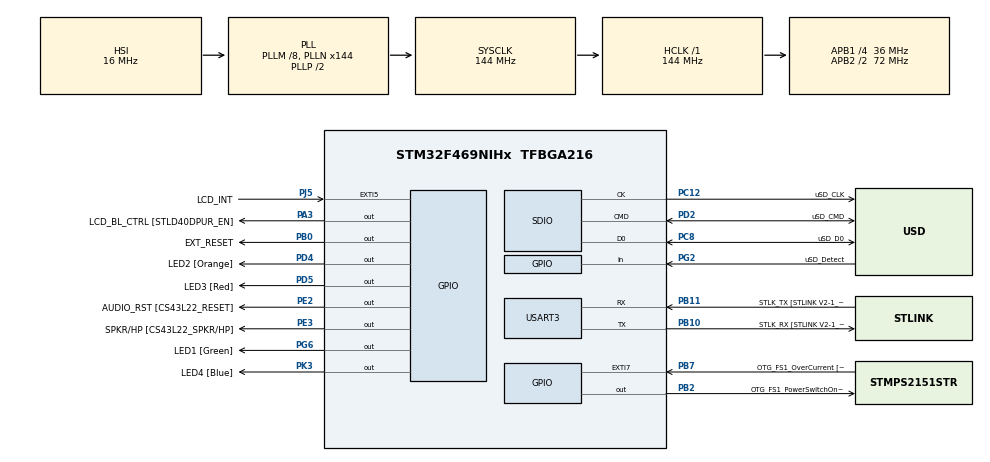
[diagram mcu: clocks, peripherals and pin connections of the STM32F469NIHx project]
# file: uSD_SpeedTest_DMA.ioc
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DSIHOST_CKN.GPIO_Label=DSI_CK_N
DSIHOST_CKN.Signal=DSIHOST_CKN
DSIHOST_CKP.GPIO_Label=DSI_CK_P
DSIHOST_CKP.Signal=DSIHOST_CKP
DSIHOST_D0N.GPIO_Label=DSI_D0_N
DSIHOST_D0N.Signal=DSIHOST_D0N
DSIHOST_D0P.GPIO_Label=DSI_D0_P
DSIHOST_D0P.Signal=DSIHOST_D0P
DSIHOST_D1N.GPIO_Label=DSI_D1_N
DSIHOST_D1N.Signal=DSIHOST_D1N
DSIHOST_D1P.GPIO_Label=DSI_D1_P
DSIHOST_D1P.Signal=DSIHOST_D1P
Dma.Request0=SDIO_RX
Dma.Request1=SDIO_TX
Dma.SDIO_RX.0.Direction=DMA_PERIPH_TO_MEMORY
Dma.SDIO_RX.0.FIFOMode=DMA_FIFOMODE_ENABLE
Dma.SDIO_RX.0.FIFOThreshold=DMA_FIFO_THRESHOLD_FULL
Dma.SDIO_RX.0.Instance=DMA2_Stream3
Dma.SDIO_RX.0.MemBurst=DMA_MBURST_INC4
Dma.SDIO_RX.0.MemDataAlignment=DMA_MDATAALIGN_WORD
Dma.SDIO_RX.0.MemInc=DMA_MINC_ENABLE
Dma.SDIO_RX.0.Mode=DMA_PFCTRL
Dma.SDIO_RX.0.PeriphBurst=DMA_PBURST_INC4
Dma.SDIO_RX.0.PeriphDataAlignment=DMA_PDATAALIGN_WORD
Dma.SDIO_RX.0.PeriphInc=DMA_PINC_DISABLE
Dma.SDIO_RX.0.Priority=DMA_PRIORITY_LOW
Dma.SDIO_TX.1.Direction=DMA_MEMORY_TO_PERIPH
Dma.SDIO_TX.1.FIFOMode=DMA_FIFOMODE_ENABLE
Dma.SDIO_TX.1.FIFOThreshold=DMA_FIFO_THRESHOLD_FULL
Dma.SDIO_TX.1.Instance=DMA2_Stream6
Dma.SDIO_TX.1.MemBurst=DMA_MBURST_INC4
Dma.SDIO_TX.1.MemDataAlignment=DMA_MDATAALIGN_WORD
Dma.SDIO_TX.1.MemInc=DMA_MINC_ENABLE
Dma.SDIO_TX.1.Mode=DMA_PFCTRL
Dma.SDIO_TX.1.PeriphBurst=DMA_PBURST_INC4
Dma.SDIO_TX.1.PeriphDataAlignment=DMA_PDATAALIGN_WORD
Dma.SDIO_TX.1.PeriphInc=DMA_PINC_DISABLE
Dma.SDIO_TX.1.Priority=DMA_PRIORITY_LOW
FATFS.BSP.number=1
FATFS.USE_DMA_CODE_SD=1
FATFS._MAX_SS=4096
FATFS._USE_FIND=1
FATFS0.BSP.STBoard=false
FATFS0.BSP.api=Unknown
FATFS0.BSP.instance=PG2
FATFS0.BSP.ip=GPIO
FATFS0.BSP.mode=Input
FATFS0.BSP.name=Detect_SDIO
FATFS0.BSP.solution=PG2
Mcu.Family=STM32F4
Mcu.Name=STM32F469NIHx
Mcu.Package=TFBGA216
NVIC.DMA2_Stream3_IRQn=true\:0\:0\:false\:false\:true\:false\:true\:true
NVIC.DMA2_Stream6_IRQn=true\:0\:0\:false\:false\:true\:false\:true\:true
NVIC.PriorityGroup=NVIC_PRIORITYGROUP_4
NVIC.SDIO_IRQn=true\:0\:0\:false\:false\:true\:true\:true\:true
PA0/WKUP.GPIO_Label=WAKEUP [B2]
PA0/WKUP.Signal=SYS_WKUP
PA10.GPIO_Label=USB_FS1_ID
PA10.GPIO_Mode=GPIO_MODE_AF_PP
PA10.GPIO_PuPd=GPIO_NOPULL
PA10.GPIO_Speed=GPIO_SPEED_FREQ_VERY_HIGH
PA10.Signal=USB_OTG_FS_ID
PA11.GPIO_Label=USB_FS1_N
PA11.GPIO_Mode=GPIO_MODE_AF_PP
PA11.GPIO_PuPd=GPIO_NOPULL
PA11.GPIO_Speed=GPIO_SPEED_FREQ_VERY_HIGH
PA11.Signal=USB_OTG_FS_DM
PA12.GPIO_Label=USB_FS1_P
PA12.GPIO_Mode=GPIO_MODE_AF_PP
PA12.GPIO_PuPd=GPIO_NOPULL
PA12.GPIO_Speed=GPIO_SPEED_FREQ_VERY_HIGH
PA12.Signal=USB_OTG_FS_DP
PA13.GPIO_Label=SWDIO
PA13.Signal=SYS_JTMS-SWDIO
PA14.GPIO_Label=SWCLK
PA14.Signal=SYS_JTCK-SWCLK
PA3.GPIO_Label=LCD_BL_CTRL [STLD40DPUR_EN]
PA3.Signal=GPIO_Output
PA9.GPIO_Label=VBUS_FS1
PA9.GPIO_Mode=GPIO_MODE_AF_PP
PA9.GPIO_PuPd=GPIO_NOPULL
PA9.GPIO_Speed=GPIO_SPEED_FREQ_VERY_HIGH
PA9.Signal=USB_OTG_FS_VBUS
PB0.GPIO_Label=EXT_RESET
PB0.Signal=GPIO_Output
PB10.GPIO_Label=STLK_RX [STLINK V2-1_U2_RX]
PB10.Mode=Asynchronous
PB10.Signal=USART3_TX
PB11.GPIO_Label=STLK_TX [STLINK V2-1_U2_TX]
PB11.Mode=Asynchronous
PB11.Signal=USART3_RX
PB2/BOOT1.GPIO_Label=OTG_FS1_PowerSwitchOn [STMPS2151STR_En]
PB2/BOOT1.Signal=GPIO_Output
PB3.GPIO_Label=I2S3_CK
PB3.GPIO_Mode=GPIO_MODE_AF_PP
PB3.GPIO_PuPd=GPIO_NOPULL
PB3.GPIO_Speed=GPIO_SPEED_FREQ_LOW
PB3.Signal=I2S3_CK
PB6.GPIO_Label=QSPI_BK1_NCS [N25Q128A13EF840F_S]
PB6.GPIO_Mode=GPIO_MODE_AF_PP
PB6.GPIO_PuPd=GPIO_NOPULL
PB6.GPIO_Speed=GPIO_SPEED_FREQ_VERY_HIGH
PB6.Signal=QUADSPI_BK1_NCS
PB7.GPIO_Label=OTG_FS1_OverCurrent [STMPS2151STR_FAULT]
PB7.GPIO_ModeDefaultEXTI=GPIO_MODE_IT_RISING
PB7.GPIO_PuPd=GPIO_NOPULL
PB7.Signal=GPXTI7
PB8.GPIO_Label=I2C1_SCL
PB8.GPIO_Mode=GPIO_MODE_AF_OD
PB8.GPIO_PuPdOD=GPIO_PULLUP
PB8.GPIO_Speed=GPIO_SPEED_FREQ_VERY_HIGH
PB8.Signal=I2C1_SCL
PB9.GPIO_Label=I2C1_SDA
PB9.GPIO_Mode=GPIO_MODE_AF_OD
PB9.GPIO_PuPdOD=GPIO_PULLUP
PB9.GPIO_Speed=GPIO_SPEED_FREQ_VERY_HIGH
PB9.Signal=I2C1_SDA
PC0.GPIO_Label=SDNWE [MT48LC4M32B2B5-6A_WE]
PC0.Signal=FMC_SDNWE
PC10.GPIO_Label=uSD_D2
PC10.GPIO_Mode=GPIO_MODE_AF_PP
PC10.GPIO_PuPd=GPIO_NOPULL
PC10.GPIO_Speed_High_Default=GPIO_SPEED_FREQ_VERY_HIGH
PC10.Signal=SDIO_D2
PC11.GPIO_Label=uSD_D3
PC11.GPIO_Mode=GPIO_MODE_AF_PP
PC11.GPIO_PuPd=GPIO_NOPULL
PC11.GPIO_Speed_High_Default=GPIO_SPEED_FREQ_VERY_HIGH
PC11.Signal=SDIO_D3
PC12.GPIO_Label=uSD_CLK
PC12.GPIO_Mode=GPIO_MODE_AF_PP
PC12.GPIO_PuPd=GPIO_NOPULL
PC12.GPIO_Speed_High_Default=GPIO_SPEED_FREQ_VERY_HIGH
PC12.Mode=SD_1_bit
PC12.Signal=SDIO_CK
PC14/OSC32_IN.Signal=RCC_OSC32_IN
PC15/OSC32_OUT.Signal=RCC_OSC32_OUT
PC8.GPIO_Label=uSD_D0
PC8.GPIO_Mode=GPIO_MODE_AF_PP
PC8.GPIO_PuPd=GPIO_NOPULL
PC8.GPIO_Speed_High_Default=GPIO_SPEED_FREQ_VERY_HIGH
PC8.Mode=SD_1_bit
PC8.Signal=SDIO_D0
PC9.GPIO_Label=uSD_D1
PC9.GPIO_Mode=GPIO_MODE_AF_PP
PC9.GPIO_PuPd=GPIO_NOPULL
PC9.GPIO_Speed_High_Default=GPIO_SPEED_FREQ_VERY_HIGH
PC9.Signal=SDIO_D1
PD0.GPIO_Label=D2
PD0.GPIO_Mode=GPIO_MODE_AF_PP
PD0.GPIO_PuPd=GPIO_NOPULL
PD0.GPIO_Speed_High_Default=GPIO_SPEED_FREQ_VERY_HIGH
PD0.Signal=FMC_D2_DA2
PD1.GPIO_Label=D3
PD1.GPIO_Mode=GPIO_MODE_AF_PP
PD1.GPIO_PuPd=GPIO_NOPULL
PD1.GPIO_Speed_High_Default=GPIO_SPEED_FREQ_VERY_HIGH
PD1.Signal=FMC_D3_DA3
PD10.GPIO_Label=D15
PD10.Signal=FMC_D15_DA15
PD13.GPIO_Label=MIC_CK [MP34DT01TR_CLK]
PD13.Signal=S_TIM4_CH2
PD14.GPIO_Label=D0
PD14.Signal=FMC_D0_DA0
PD15.GPIO_Label=D1
PD15.Signal=FMC_D1_DA1
PD2.GPIO_Label=uSD_CMD
PD2.GPIO_Mode=GPIO_MODE_AF_PP
PD2.GPIO_PuPd=GPIO_NOPULL
PD2.GPIO_Speed_High_Default=GPIO_SPEED_FREQ_VERY_HIGH
PD2.Mode=SD_1_bit
PD2.Signal=SDIO_CMD
PD4.GPIO_Label=LED2 [Orange]
PD4.GPIO_ModeDefaultOutputPP=GPIO_MODE_OUTPUT_OD
PD4.GPIO_PuPd=GPIO_NOPULL
PD4.GPIO_Speed=GPIO_SPEED_FREQ_LOW
PD4.Signal=GPIO_Output
PD5.GPIO_Label=LED3 [Red]
PD5.GPIO_ModeDefaultOutputPP=GPIO_MODE_OUTPUT_OD
PD5.GPIO_PuPd=GPIO_NOPULL
PD5.GPIO_Speed=GPIO_SPEED_FREQ_LOW
PD5.Signal=GPIO_Output
PD6.GPIO_Label=MIC_DATA [MP34DT01TR_DOUT]
PD6.GPIO_Mode=GPIO_MODE_AF_PP
PD6.GPIO_PuPd=GPIO_NOPULL
PD6.GPIO_Speed=GPIO_SPEED_FREQ_LOW
PD6.Signal=SAI1_SD_A
PD8.GPIO_Label=D13
PD8.Signal=FMC_D13_DA13
PD9.GPIO_Label=D14
PD9.Signal=FMC_D14_DA14
PE0.GPIO_Label=FMC_NBL0 [ MT48LC4M32B2B5-6A_DQM0]
PE0.GPIO_Mode=GPIO_MODE_AF_PP
PE0.GPIO_PuPd=GPIO_NOPULL
PE0.GPIO_Speed_High_Default=GPIO_SPEED_FREQ_VERY_HIGH
PE0.Signal=FMC_NBL0
PE1.GPIO_Label=FMC_NBL1 [ MT48LC4M32B2B5-6A_DQM1]
PE1.GPIO_Mode=GPIO_MODE_AF_PP
PE1.GPIO_PuPd=GPIO_NOPULL
PE1.GPIO_Speed_High_Default=GPIO_SPEED_FREQ_VERY_HIGH
PE1.Signal=FMC_NBL1
PE10.GPIO_Label=D7
PE10.Signal=FMC_D7_DA7
PE11.GPIO_Label=D8
PE11.Signal=FMC_D8_DA8
PE12.GPIO_Label=D9
PE12.Signal=FMC_D9_DA9
PE13.GPIO_Label=D10
PE13.Signal=FMC_D10_DA10
PE14.GPIO_Label=D11
PE14.Signal=FMC_D11_DA11
PE15.GPIO_Label=D12
PE15.Signal=FMC_D12_DA12
PE2.GPIO_Label=AUDIO_RST [CS43L22_RESET]
PE2.GPIO_ModeDefaultOutputPP=GPIO_MODE_OUTPUT_PP
PE2.GPIO_PuPd=GPIO_NOPULL
PE2.GPIO_Speed=GPIO_SPEED_FREQ_LOW
PE2.Signal=GPIO_Output
PE3.GPIO_Label=SPKR/HP [CS43L22_SPKR/HP]
PE3.GPIO_ModeDefaultOutputPP=GPIO_MODE_OUTPUT_PP
PE3.GPIO_PuPd=GPIO_NOPULL
PE3.GPIO_Speed=GPIO_SPEED_FREQ_LOW
PE3.Signal=GPIO_Output
PE4.GPIO_Label=SAI1_FSA [CS43L22_LRCK]
PE4.GPIO_Mode=GPIO_MODE_AF_PP
PE4.GPIO_PuPd=GPIO_NOPULL
PE4.GPIO_Speed=GPIO_SPEED_FREQ_LOW
PE4.Signal=SAI1_FS_A
PE5.GPIO_Label=SAI1_SCKA [CS43L22_CLK]
PE5.GPIO_Mode=GPIO_MODE_AF_PP
PE5.GPIO_PuPd=GPIO_NOPULL
PE5.GPIO_Speed=GPIO_SPEED_FREQ_LOW
PE5.Signal=SAI1_SCK_A
PE7.GPIO_Label=D4
PE7.Signal=FMC_D4_DA4
PE8.GPIO_Label=D5
PE8.Signal=FMC_D5_DA5
PE9.GPIO_Label=D6
PE9.Signal=FMC_D6_DA6
PF0.GPIO_Label=A0
PF0.GPIO_Mode=GPIO_MODE_AF_PP
PF0.GPIO_PuPd=GPIO_NOPULL
PF0.GPIO_Speed_High_Default=GPIO_SPEED_FREQ_VERY_HIGH
PF0.Signal=FMC_A0
PF1.GPIO_Label=A1
PF1.GPIO_Mode=GPIO_MODE_AF_PP
PF1.GPIO_PuPd=GPIO_NOPULL
PF1.GPIO_Speed_High_Default=GPIO_SPEED_FREQ_VERY_HIGH
PF1.Signal=FMC_A1
PF10.GPIO_Label=QSPI_CLK [N25Q128A13EF840F_C]
PF10.Signal=QUADSPI_CLK
PF11.GPIO_Label=SDNMT48LC4M32B2B5-6A_RAS]RAS [
PF11.Signal=FMC_SDNRAS
PF12.GPIO_Label=A6
PF12.Signal=FMC_A6
PF13.GPIO_Label=A7
PF13.Signal=FMC_A7
PF14.GPIO_Label=A8
PF14.Signal=FMC_A8
PF15.GPIO_Label=A9
PF15.Signal=FMC_A9
PF2.GPIO_Label=A2
PF2.GPIO_Mode=GPIO_MODE_AF_PP
PF2.GPIO_PuPd=GPIO_NOPULL
PF2.GPIO_Speed_High_Default=GPIO_SPEED_FREQ_VERY_HIGH
PF2.Signal=FMC_A2
PF3.GPIO_Label=A3
PF3.GPIO_Mode=GPIO_MODE_AF_PP
PF3.GPIO_PuPd=GPIO_NOPULL
PF3.GPIO_Speed_High_Default=GPIO_SPEED_FREQ_VERY_HIGH
PF3.Signal=FMC_A3
PF4.GPIO_Label=A4
PF4.GPIO_Mode=GPIO_MODE_AF_PP
PF4.GPIO_PuPd=GPIO_NOPULL
PF4.GPIO_Speed_High_Default=GPIO_SPEED_FREQ_VERY_HIGH
PF4.Signal=FMC_A4
PF5.GPIO_Label=A5
PF5.Signal=FMC_A5
PF6.GPIO_Label=QSPI_BK1_IO3 [N25Q128A13EF840F_DQ3]
PF6.Signal=QUADSPI_BK1_IO3
PF7.GPIO_Label=QSPI_BK1_IO2 [N25Q128A13EF840F_DQ2]
PF7.Signal=QUADSPI_BK1_IO2
PF8.GPIO_Label=QSPI_BK1_IO0 [N25Q128A13EF840F_DQ0]
PF8.Signal=QUADSPI_BK1_IO0
PF9.GPIO_Label=QSPI_BK1_IO1 [N25Q128A13EF840F_DQ1]
PF9.Signal=QUADSPI_BK1_IO1
PG0.GPIO_Label=A10
PG0.Signal=FMC_A10
PG1.GPIO_Label=A11
PG1.Signal=FMC_A11
PG14.GPIO_Label=ARDUINO USART6_TX
PG14.GPIO_Mode=GPIO_MODE_AF_PP
PG14.GPIO_PuPd=GPIO_NOPULL
PG14.GPIO_Speed=GPIO_SPEED_FREQ_VERY_HIGH
PG14.Signal=USART6_TX
PG15.GPIO_Label=SDNCAS [MT48LC4M32B2B5-6A_CAS]
PG15.GPIO_Mode=GPIO_MODE_AF_PP
PG15.GPIO_PuPd=GPIO_NOPULL
PG15.GPIO_Speed_High_Default=GPIO_SPEED_FREQ_VERY_HIGH
PG15.Signal=FMC_SDNCAS
PG2.GPIO_Label=uSD_Detect
PG2.GPIO_PuPd=GPIO_PULLUP
PG2.Signal=GPIO_Input
PG4.Signal=FMC_A14_BA0
PG5.Signal=FMC_A15_BA1
PG6.GPIO_Label=LED1 [Green]
PG6.GPIO_ModeDefaultOutputPP=GPIO_MODE_OUTPUT_OD
PG6.GPIO_PuPd=GPIO_NOPULL
PG6.GPIO_Speed=GPIO_SPEED_FREQ_LOW
PG6.Signal=GPIO_Output
PG7.GPIO_Label=SAI1_MCLKA [CS43L22_MCLK]
PG7.GPIO_Mode=GPIO_MODE_AF_PP
PG7.GPIO_PuPd=GPIO_NOPULL
PG7.GPIO_Speed=GPIO_SPEED_FREQ_LOW
PG7.Signal=SAI1_MCLK_A
PG8.GPIO_Label=SDCLK [MT48LC4M32B2B5-6A_CLK]
PG8.GPIO_Mode=GPIO_MODE_AF_PP
PG8.GPIO_PuPd=GPIO_NOPULL
PG8.GPIO_Speed_High_Default=GPIO_SPEED_FREQ_VERY_HIGH
PG8.Signal=FMC_SDCLK
PG9.GPIO_Label=USART6_RX
PG9.GPIO_Mode=GPIO_MODE_AF_PP
PG9.GPIO_PuPd=GPIO_NOPULL
PG9.GPIO_Speed=GPIO_SPEED_FREQ_VERY_HIGH
PG9.Signal=USART6_RX
PH0/OSC_IN.Mode=HSE-External-Oscillator
PH0/OSC_IN.Signal=RCC_OSC_IN
PH1/OSC_OUT.Mode=HSE-External-Oscillator
PH1/OSC_OUT.Signal=RCC_OSC_OUT
PH10.GPIO_Label=D18
PH10.Signal=FMC_D18
PH11.GPIO_Label=D19
PH11.Signal=FMC_D19
PH12.GPIO_Label=D20
PH12.Signal=FMC_D20
PH13.GPIO_Label=D21
PH13.GPIO_Mode=GPIO_MODE_AF_PP
PH13.GPIO_PuPd=GPIO_NOPULL
PH13.GPIO_Speed_High_Default=GPIO_SPEED_FREQ_VERY_HIGH
PH13.Signal=FMC_D21
PH14.GPIO_Label=D22
PH14.GPIO_Mode=GPIO_MODE_AF_PP
PH14.GPIO_PuPd=GPIO_NOPULL
PH14.GPIO_Speed_High_Default=GPIO_SPEED_FREQ_VERY_HIGH
PH14.Signal=FMC_D22
PH15.GPIO_Label=D23
PH15.GPIO_Mode=GPIO_MODE_AF_PP
PH15.GPIO_PuPd=GPIO_NOPULL
PH15.GPIO_Speed_High_Default=GPIO_SPEED_FREQ_VERY_HIGH
PH15.Signal=FMC_D23
PH2.GPIO_Label=SDCKE0 [MT48LC4M32B2B5-6A_CKE]
PH2.Signal=FMC_SDCKE0
PH3.GPIO_Label=SDNE0 [MT48LC4M32B2B5-6A_CS]
PH3.GPIO_Mode=GPIO_MODE_AF_PP
PH3.GPIO_PuPd=GPIO_NOPULL
PH3.GPIO_Speed_High_Default=GPIO_SPEED_FREQ_VERY_HIGH
PH3.Signal=FMC_SDNE0
PH4.GPIO_Label=I2C2_SCL [CS43L22_SCL]
PH4.GPIO_Mode=GPIO_MODE_AF_OD
PH4.GPIO_PuPdOD=GPIO_PULLUP
PH4.GPIO_Speed=GPIO_SPEED_FREQ_VERY_HIGH
PH4.Signal=I2C2_SCL
PH5.GPIO_Label=I2C2_SDA [CS43L22_SDA]
PH5.GPIO_Mode=GPIO_MODE_AF_OD
PH5.GPIO_PuPdOD=GPIO_PULLUP
PH5.GPIO_Speed=GPIO_SPEED_FREQ_VERY_HIGH
PH5.Signal=I2C2_SDA
PH8.GPIO_Label=D16
PH8.Signal=FMC_D16
PH9.GPIO_Label=D17
PH9.Signal=FMC_D17
PI0.GPIO_Label=D24
PI0.GPIO_Mode=GPIO_MODE_AF_PP
PI0.GPIO_PuPd=GPIO_NOPULL
PI0.GPIO_Speed_High_Default=GPIO_SPEED_FREQ_VERY_HIGH
PI0.Signal=FMC_D24
PI1.GPIO_Label=D25
PI1.GPIO_Mode=GPIO_MODE_AF_PP
PI1.GPIO_PuPd=GPIO_NOPULL
PI1.GPIO_Speed_High_Default=GPIO_SPEED_FREQ_VERY_HIGH
PI1.Signal=FMC_D25
PI10.GPIO_Label=D31
PI10.GPIO_Mode=GPIO_MODE_AF_PP
PI10.GPIO_PuPd=GPIO_NOPULL
PI10.GPIO_Speed_High_Default=GPIO_SPEED_FREQ_VERY_HIGH
PI10.Signal=FMC_D31
PI2.GPIO_Label=D26
PI2.GPIO_Mode=GPIO_MODE_AF_PP
PI2.GPIO_PuPd=GPIO_NOPULL
PI2.GPIO_Speed_High_Default=GPIO_SPEED_FREQ_VERY_HIGH
PI2.Signal=FMC_D26
PI3.GPIO_Label=D27
PI3.GPIO_Mode=GPIO_MODE_AF_PP
PI3.GPIO_PuPd=GPIO_NOPULL
PI3.GPIO_Speed_High_Default=GPIO_SPEED_FREQ_VERY_HIGH
PI3.Signal=FMC_D27
PI4.GPIO_Label=FMC_NBL2 [MT48LC4M32B2B5-6A_DQM2]
PI4.GPIO_Mode=GPIO_MODE_AF_PP
PI4.GPIO_PuPd=GPIO_NOPULL
PI4.GPIO_Speed_High_Default=GPIO_SPEED_FREQ_VERY_HIGH
PI4.Signal=FMC_NBL2
PI5.GPIO_Label=FMC_NBL3 [MT48LC4M32B2B5-6A_DQM3]
PI5.GPIO_Mode=GPIO_MODE_AF_PP
PI5.GPIO_PuPd=GPIO_NOPULL
PI5.GPIO_Speed_High_Default=GPIO_SPEED_FREQ_VERY_HIGH
PI5.Signal=FMC_NBL3
PI6.GPIO_Label=D28
PI6.GPIO_Mode=GPIO_MODE_AF_PP
PI6.GPIO_PuPd=GPIO_NOPULL
PI6.GPIO_Speed_High_Default=GPIO_SPEED_FREQ_VERY_HIGH
PI6.Signal=FMC_D28
PI7.GPIO_Label=D29
PI7.GPIO_Mode=GPIO_MODE_AF_PP
PI7.GPIO_PuPd=GPIO_NOPULL
PI7.GPIO_Speed_High_Default=GPIO_SPEED_FREQ_VERY_HIGH
PI7.Signal=FMC_D29
PI9.GPIO_Label=D30
PI9.GPIO_Mode=GPIO_MODE_AF_PP
PI9.GPIO_PuPd=GPIO_NOPULL
PI9.GPIO_Speed_High_Default=GPIO_SPEED_FREQ_VERY_HIGH
PI9.Signal=FMC_D30
PJ2.GPIO_Label=DSI_TE
PJ2.Signal=DSIHOST_TE
PJ5.GPIO_Label=LCD_INT
PJ5.Signal=GPXTI5
PK3.GPIO_Label=LED4 [Blue]
PK3.GPIO_ModeDefaultOutputPP=GPIO_MODE_OUTPUT_OD
PK3.GPIO_PuPd=GPIO_NOPULL
PK3.GPIO_Speed=GPIO_SPEED_FREQ_LOW
PK3.Signal=GPIO_Output
ProjectManager.HeapSize=0x200
ProjectManager.StackSize=0x400
ProjectManager.TargetToolchain=STM32CubeIDE
RCC.AHBFreq_Value=144000000
RCC.APB1CLKDivider=RCC_HCLK_DIV4
RCC.APB1Freq_Value=36000000
RCC.APB1TimFreq_Value=72000000
RCC.APB2CLKDivider=RCC_HCLK_DIV2
RCC.APB2Freq_Value=72000000
RCC.APB2TimFreq_Value=144000000
RCC.CortexFreq_Value=144000000
RCC.HCLKFreq_Value=144000000
RCC.LockedElements=SDIOoutput
RCC.PLLM=8
RCC.PLLN=144
RCC.PLLQ=6
RCC.SYSCLKFreq_VALUE=144000000
RCC.SYSCLKSource=RCC_SYSCLKSOURCE_PLLCLK
RCC.USBFreq_Value=48000000
RCC.VCOOutputFreq_Value=288000000
SDIO.ClockBypass=SDIO_CLOCK_BYPASS_ENABLE
SDIO.HardwareFlowControl=SDIO_HARDWARE_FLOW_CONTROL_DISABLE
SH.FMC_A0.0=FMC_A0
SH.FMC_A1.0=FMC_A1
SH.FMC_A10.0=FMC_A10
SH.FMC_A11.0=FMC_A11
SH.FMC_A14_BA0.0=FMC_BA0
SH.FMC_A15_BA1.0=FMC_BA1
SH.FMC_A2.0=FMC_A2
SH.FMC_A3.0=FMC_A3
SH.FMC_A4.0=FMC_A4
SH.FMC_A5.0=FMC_A5
SH.FMC_A6.0=FMC_A6
SH.FMC_A7.0=FMC_A7
SH.FMC_A8.0=FMC_A8
SH.FMC_A9.0=FMC_A9
SH.FMC_D0_DA0.0=FMC_D0
SH.FMC_D10_DA10.0=FMC_D10
SH.FMC_D11_DA11.0=FMC_D11
SH.FMC_D12_DA12.0=FMC_D12
SH.FMC_D13_DA13.0=FMC_D13
SH.FMC_D14_DA14.0=FMC_D14
SH.FMC_D15_DA15.0=FMC_D15
SH.FMC_D16.0=FMC_D16
SH.FMC_D17.0=FMC_D17
SH.FMC_D18.0=FMC_D18
SH.FMC_D19.0=FMC_D19
SH.FMC_D1_DA1.0=FMC_D1
SH.FMC_D20.0=FMC_D20
SH.FMC_D21.0=FMC_D21
SH.FMC_D22.0=FMC_D22
SH.FMC_D23.0=FMC_D23
SH.FMC_D24.0=FMC_D24
SH.FMC_D25.0=FMC_D25
SH.FMC_D26.0=FMC_D26
SH.FMC_D27.0=FMC_D27
SH.FMC_D28.0=FMC_D28
SH.FMC_D29.0=FMC_D29
SH.FMC_D2_DA2.0=FMC_D2
SH.FMC_D30.0=FMC_D30
SH.FMC_D31.0=FMC_D31
SH.FMC_D3_DA3.0=FMC_D3
SH.FMC_D4_DA4.0=FMC_D4
SH.FMC_D5_DA5.0=FMC_D5
SH.FMC_D6_DA6.0=FMC_D6
SH.FMC_D7_DA7.0=FMC_D7
SH.FMC_D8_DA8.0=FMC_D8
SH.FMC_D9_DA9.0=FMC_D9
SH.FMC_NBL0.0=FMC_NBL0
SH.FMC_NBL1.0=FMC_NBL1
SH.FMC_NBL2.0=FMC_NBL2
SH.FMC_NBL3.0=FMC_NBL3
SH.FMC_SDCLK.0=FMC_SDCLK
SH.FMC_SDNCAS.0=FMC_SDNCAS
SH.FMC_SDNRAS.0=FMC_SDNRAS
SH.FMC_SDNWE.0=FMC_SDNWE
SH.S_TIM4_CH2.0=TIM4_CH2
USART3.VirtualMode=VM_ASYNC
VP_CRC_VS_CRC.Mode=CRC_Activate
VP_FATFS_VS_SDIO.Mode=SDIO
board=STM32F469I-DISCO

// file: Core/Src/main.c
/* USER CODE BEGIN Header */
/**
  ******************************************************************************
  * @file           : main.c
  * @brief          : Main program body
  ******************************************************************************
  * @attention
  *
  * Copyright (c) 2023 STMicroelectronics.
  * All rights errerved.
  *
  * This software is licensed under terms that can be found in the LICENSE file
  * in the root directory of this software component.
  * If no LICENSE file comes with this software, it is provided AS-IS.
  *
  ******************************************************************************
  */
/* USER CODE END Header */
#include "main.h"
#include "fatfs.h"

/* USER CODE BEGIN Includes */
#include "string.h"
#include "SD.h"
/* USER CODE END Includes */

CRC_HandleTypeDef hcrc;

SD_HandleTypeDef hsd;
DMA_HandleTypeDef hdma_sdio_rx;
DMA_HandleTypeDef hdma_sdio_tx;

UART_HandleTypeDef huart3;

/* USER CODE BEGIN PV */

uint32_t idPart1;
uint32_t idPart2;
uint32_t idPart3;

/*
 * Variables for the SD card
 */
volatile int writeCounter = 0;
char SDFileName[13] = "testfile.enc";
UINT byteswritten, bytesread; /* File write/read counts */
FRESULT fr = FR_NOT_READY;
FATFS SDFatFs; /* File system object for SD card logical drive */
FIL MyFile; /* File object */
//char SDPath[4]; /* SD card logical drive path */
//static uint8_t buffer[_MAX_SS]; /* a work buffer for the f_mkfs() */
uint16_t fileCounter = 0;
/* USER CODE END PV */

void SystemClock_Config(void);
static void MX_GPIO_Init(void);
static void MX_DMA_Init(void);
static void MX_CRC_Init(void);
static void MX_SDIO_SD_Init(void);
static void MX_USART3_UART_Init(void);
/* USER CODE BEGIN PFP */
void f_opendir_scan(void);
/* USER CODE END PFP */

/* USER CODE BEGIN 0 */
#define N_FILES 100 // The amount of files that will be written to the SD card
#define DATA_SIZE  (32768) // 4096*8
#define DATA_SIZE_BIT  (DATA_SIZE * 32)
int data[DATA_SIZE];
/* USER CODE END 0 */

int main(void)
{

  /* MCU Configuration--------------------------------------------------------*/

  /* Reset of all peripherals, Initializes the Flash interface and the Systick. */
  HAL_Init();

  /* Configure the system clock */
  SystemClock_Config();

  /* Initialize all configured peripherals */
  MX_GPIO_Init();
  MX_DMA_Init();
  MX_CRC_Init();
  MX_SDIO_SD_Init();
  MX_FATFS_Init();
  MX_USART3_UART_Init();
  /* USER CODE BEGIN 2 */

  HAL_Delay(500);
  uint32_t start_time, duration;
  float data_rate[N_FILES];

    for(int i=0; i<DATA_SIZE; i++)
  	{
  	  data[i] = i;
  	}

  /* USER CODE END 2 */

  /* Infinite loop */
  /* USER CODE BEGIN WHILE */
    mountSDCard(&fr, &SDFatFS);
    for (int i=0; i<N_FILES; i++)
    {
    /* USER CODE END WHILE */

    /* USER CODE BEGIN 3 */

  	if(fr == FR_OK)
  	{
		setFileName(&fileCounter, SDFileName);
		openWriteModeSDCardFile(&fr, SDFileName);
		if(fr == FR_OK)
		{
			start_time = HAL_GetTick();
			writeSDCardFile(&fr, (void*) data, (DATA_SIZE* sizeof(int)), &byteswritten);
			duration = HAL_GetTick() - start_time;

			data_rate[i] = (float)(DATA_SIZE_BIT / 8.0f / 1000000.0f / (duration/1000.0f)) ; // in Byte/s
			if(fr == FR_OK)
			{
				closeSDCardFile(&fr);
			}
		}
  	}
  	HAL_Delay(10);

    }

    mountSDCard(&fr, &SDFatFS);
    sprintf(SDFileName, "timestat.bin");
    openWriteModeSDCardFile(&fr, SDFileName);
    writeSDCardFile(&fr, (void*) data_rate, (N_FILES* sizeof(float)), &byteswritten);
    closeSDCardFile(&fr);
    __NOP();

  /* USER CODE END 3 */
}

void SystemClock_Config(void)
{
  RCC_OscInitTypeDef RCC_OscInitStruct = {0};
  RCC_ClkInitTypeDef RCC_ClkInitStruct = {0};

  /** Configure the main internal regulator output voltage
  */
  __HAL_RCC_PWR_CLK_ENABLE();
  __HAL_PWR_VOLTAGESCALING_CONFIG(PWR_REGULATOR_VOLTAGE_SCALE2);

  /** Initializes the RCC Oscillators according to the specified parameters
  * in the RCC_OscInitTypeDef structure.
  */
  RCC_OscInitStruct.OscillatorType = RCC_OSCILLATORTYPE_HSI;
  RCC_OscInitStruct.HSIState = RCC_HSI_ON;
  RCC_OscInitStruct.HSICalibrationValue = RCC_HSICALIBRATION_DEFAULT;
  RCC_OscInitStruct.PLL.PLLState = RCC_PLL_ON;
  RCC_OscInitStruct.PLL.PLLSource = RCC_PLLSOURCE_HSI;
  RCC_OscInitStruct.PLL.PLLM = 8;
  RCC_OscInitStruct.PLL.PLLN = 144;
  RCC_OscInitStruct.PLL.PLLP = RCC_PLLP_DIV2;
  RCC_OscInitStruct.PLL.PLLQ = 6;
  RCC_OscInitStruct.PLL.PLLR = 2;
  if (HAL_RCC_OscConfig(&RCC_OscInitStruct) != HAL_OK)
  {
    Error_Handler();
  }

  /** Initializes the CPU, AHB and APB buses clocks
  */
  RCC_ClkInitStruct.ClockType = RCC_CLOCKTYPE_HCLK|RCC_CLOCKTYPE_SYSCLK
                              |RCC_CLOCKTYPE_PCLK1|RCC_CLOCKTYPE_PCLK2;
  RCC_ClkInitStruct.SYSCLKSource = RCC_SYSCLKSOURCE_PLLCLK;
  RCC_ClkInitStruct.AHBCLKDivider = RCC_SYSCLK_DIV1;
  RCC_ClkInitStruct.APB1CLKDivider = RCC_HCLK_DIV4;
  RCC_ClkInitStruct.APB2CLKDivider = RCC_HCLK_DIV2;

  if (HAL_RCC_ClockConfig(&RCC_ClkInitStruct, FLASH_LATENCY_4) != HAL_OK)
  {
    Error_Handler();
  }
}

static void MX_CRC_Init(void)
{

  hcrc.Instance = CRC;
  if (HAL_CRC_Init(&hcrc) != HAL_OK)
  {
    Error_Handler();
  }

}

static void MX_SDIO_SD_Init(void)
{

  hsd.Instance = SDIO;
  hsd.Init.ClockEdge = SDIO_CLOCK_EDGE_RISING;
  hsd.Init.ClockBypass = SDIO_CLOCK_BYPASS_ENABLE;
  hsd.Init.ClockPowerSave = SDIO_CLOCK_POWER_SAVE_DISABLE;
  hsd.Init.BusWide = SDIO_BUS_WIDE_1B;
  hsd.Init.HardwareFlowControl = SDIO_HARDWARE_FLOW_CONTROL_DISABLE;
  hsd.Init.ClockDiv = 0;

}

static void MX_USART3_UART_Init(void)
{

  huart3.Instance = USART3;
  huart3.Init.BaudRate = 115200;
  huart3.Init.WordLength = UART_WORDLENGTH_8B;
  huart3.Init.StopBits = UART_STOPBITS_1;
  huart3.Init.Parity = UART_PARITY_NONE;
  huart3.Init.Mode = UART_MODE_TX_RX;
  huart3.Init.HwFlowCtl = UART_HWCONTROL_NONE;
  huart3.Init.OverSampling = UART_OVERSAMPLING_16;
  if (HAL_UART_Init(&huart3) != HAL_OK)
  {
    Error_Handler();
  }

}

static void MX_DMA_Init(void)
{

  /* DMA controller clock enable */
  __HAL_RCC_DMA2_CLK_ENABLE();

  /* DMA interrupt init */
  /* DMA2_Stream3_IRQn interrupt configuration */
  HAL_NVIC_SetPriority(DMA2_Stream3_IRQn, 0, 0);
  HAL_NVIC_EnableIRQ(DMA2_Stream3_IRQn);
  /* DMA2_Stream6_IRQn interrupt configuration */
  HAL_NVIC_SetPriority(DMA2_Stream6_IRQn, 0, 0);
  HAL_NVIC_EnableIRQ(DMA2_Stream6_IRQn);

}

static void MX_GPIO_Init(void)
{
  GPIO_InitTypeDef GPIO_InitStruct = {0};

  /* GPIO Ports Clock Enable */
  __HAL_RCC_GPIOE_CLK_ENABLE();
  __HAL_RCC_GPIOG_CLK_ENABLE();
  __HAL_RCC_GPIOB_CLK_ENABLE();
  __HAL_RCC_GPIOC_CLK_ENABLE();
  __HAL_RCC_GPIOA_CLK_ENABLE();
  __HAL_RCC_GPIOD_CLK_ENABLE();
  __HAL_RCC_GPIOI_CLK_ENABLE();
  __HAL_RCC_GPIOF_CLK_ENABLE();
  __HAL_RCC_GPIOK_CLK_ENABLE();
  __HAL_RCC_GPIOH_CLK_ENABLE();
  __HAL_RCC_GPIOJ_CLK_ENABLE();

  /*Configure GPIO pin Output Level */
  HAL_GPIO_WritePin(GPIOE, SPKR_HP_Pin|AUDIO_RST_Pin, GPIO_PIN_RESET);

  /*Configure GPIO pin Output Level */
  HAL_GPIO_WritePin(GPIOD, LED3_Pin|LED2_Pin, GPIO_PIN_RESET);

  /*Configure GPIO pin Output Level */
  HAL_GPIO_WritePin(LED4_GPIO_Port, LED4_Pin, GPIO_PIN_RESET);

  /*Configure GPIO pin Output Level */
  HAL_GPIO_WritePin(LED1_GPIO_Port, LED1_Pin, GPIO_PIN_RESET);

  /*Configure GPIO pin Output Level */
  HAL_GPIO_WritePin(GPIOB, OTG_FS1_PowerSwitchOn_Pin|EXT_RESET_Pin, GPIO_PIN_RESET);

  /*Configure GPIO pin Output Level */
  HAL_GPIO_WritePin(LCD_BL_CTRL_GPIO_Port, LCD_BL_CTRL_Pin, GPIO_PIN_RESET);

  /*Configure GPIO pins : SAI1_FSA_Pin SAI1_SCKA_Pin */
  GPIO_InitStruct.Pin = SAI1_FSA_Pin|SAI1_SCKA_Pin;
  GPIO_InitStruct.Mode = GPIO_MODE_AF_PP;
  GPIO_InitStruct.Pull = GPIO_NOPULL;
  GPIO_InitStruct.Speed = GPIO_SPEED_FREQ_LOW;
  GPIO_InitStruct.Alternate = GPIO_AF6_SAI1;
  HAL_GPIO_Init(GPIOE, &GPIO_InitStruct);

  /*Configure GPIO pins : SPKR_HP_Pin AUDIO_RST_Pin */
  GPIO_InitStruct.Pin = SPKR_HP_Pin|AUDIO_RST_Pin;
  GPIO_InitStruct.Mode = GPIO_MODE_OUTPUT_PP;
  GPIO_InitStruct.Pull = GPIO_NOPULL;
  GPIO_InitStruct.Speed = GPIO_SPEED_FREQ_LOW;
  HAL_GPIO_Init(GPIOE, &GPIO_InitStruct);

  /*Configure GPIO pins : ARDUINO_USART6_TX_Pin USART6_RX_Pin */
  GPIO_InitStruct.Pin = ARDUINO_USART6_TX_Pin|USART6_RX_Pin;
  GPIO_InitStruct.Mode = GPIO_MODE_AF_PP;
  GPIO_InitStruct.Pull = GPIO_NOPULL;
  GPIO_InitStruct.Speed = GPIO_SPEED_FREQ_VERY_HIGH;
  GPIO_InitStruct.Alternate = GPIO_AF8_USART6;
  HAL_GPIO_Init(GPIOG, &GPIO_InitStruct);

  /*Configure GPIO pins : FMC_NBL1_Pin FMC_NBL0_Pin D5_Pin D6_Pin
                           D8_Pin D11_Pin D4_Pin D7_Pin
                           D9_Pin D12_Pin D10_Pin */
  GPIO_InitStruct.Pin = FMC_NBL1_Pin|FMC_NBL0_Pin|D5_Pin|D6_Pin
                          |D8_Pin|D11_Pin|D4_Pin|D7_Pin
                          |D9_Pin|D12_Pin|D10_Pin;
  GPIO_InitStruct.Mode = GPIO_MODE_AF_PP;
  GPIO_InitStruct.Pull = GPIO_NOPULL;
  GPIO_InitStruct.Speed = GPIO_SPEED_FREQ_VERY_HIGH;
  GPIO_InitStruct.Alternate = GPIO_AF12_FMC;
  HAL_GPIO_Init(GPIOE, &GPIO_InitStruct);

  /*Configure GPIO pins : I2C1_SCL_Pin I2C1_SDA_Pin */
  GPIO_InitStruct.Pin = I2C1_SCL_Pin|I2C1_SDA_Pin;
  GPIO_InitStruct.Mode = GPIO_MODE_AF_OD;
  GPIO_InitStruct.Pull = GPIO_NOPULL;
  GPIO_InitStruct.Speed = GPIO_SPEED_FREQ_VERY_HIGH;
  GPIO_InitStruct.Alternate = GPIO_AF4_I2C1;
  HAL_GPIO_Init(GPIOB, &GPIO_InitStruct);

  /*Configure GPIO pin : I2S3_CK_Pin */
  GPIO_InitStruct.Pin = I2S3_CK_Pin;
  GPIO_InitStruct.Mode = GPIO_MODE_AF_PP;
  GPIO_InitStruct.Pull = GPIO_NOPULL;
  GPIO_InitStruct.Speed = GPIO_SPEED_FREQ_LOW;
  GPIO_InitStruct.Alternate = GPIO_AF6_SPI3;
  HAL_GPIO_Init(I2S3_CK_GPIO_Port, &GPIO_InitStruct);

  /*Configure GPIO pin : OTG_FS1_OverCurrent_Pin */
  GPIO_InitStruct.Pin = OTG_FS1_OverCurrent_Pin;
  GPIO_InitStruct.Mode = GPIO_MODE_IT_RISING;
  GPIO_InitStruct.Pull = GPIO_NOPULL;
  HAL_GPIO_Init(OTG_FS1_OverCurrent_GPIO_Port, &GPIO_InitStruct);

  /*Configure GPIO pin : QSPI_BK1_NCS_Pin */
  GPIO_InitStruct.Pin = QSPI_BK1_NCS_Pin;
  GPIO_InitStruct.Mode = GPIO_MODE_AF_PP;
  GPIO_InitStruct.Pull = GPIO_NOPULL;
  GPIO_InitStruct.Speed = GPIO_SPEED_FREQ_VERY_HIGH;
  GPIO_InitStruct.Alternate = GPIO_AF10_QSPI;
  HAL_GPIO_Init(QSPI_BK1_NCS_GPIO_Port, &GPIO_InitStruct);

  /*Configure GPIO pins : SDNCAS_Pin SDCLK_Pin A11_Pin A10_Pin
                           PG5 PG4 */
  GPIO_InitStruct.Pin = SDNCAS_Pin|SDCLK_Pin|A11_Pin|A10_Pin
                          |GPIO_PIN_5|GPIO_PIN_4;
  GPIO_InitStruct.Mode = GPIO_MODE_AF_PP;
  GPIO_InitStruct.Pull = GPIO_NOPULL;
  GPIO_InitStruct.Speed = GPIO_SPEED_FREQ_VERY_HIGH;
  GPIO_InitStruct.Alternate = GPIO_AF12_FMC;
  HAL_GPIO_Init(GPIOG, &GPIO_InitStruct);

  /*Configure GPIO pin : MIC_DATA_Pin */
  GPIO_InitStruct.Pin = MIC_DATA_Pin;
  GPIO_InitStruct.Mode = GPIO_MODE_AF_PP;
  GPIO_InitStruct.Pull = GPIO_NOPULL;
  GPIO_InitStruct.Speed = GPIO_SPEED_FREQ_LOW;
  GPIO_InitStruct.Alternate = GPIO_AF6_SAI1;
  HAL_GPIO_Init(MIC_DATA_GPIO_Port, &GPIO_InitStruct);

  /*Configure GPIO pins : D2_Pin D3_Pin D1_Pin D15_Pin
                           D0_Pin D14_Pin D13_Pin */
  GPIO_InitStruct.Pin = D2_Pin|D3_Pin|D1_Pin|D15_Pin
                          |D0_Pin|D14_Pin|D13_Pin;
  GPIO_InitStruct.Mode = GPIO_MODE_AF_PP;
  GPIO_InitStruct.Pull = GPIO_NOPULL;
  GPIO_InitStruct.Speed = GPIO_SPEED_FREQ_VERY_HIGH;
  GPIO_InitStruct.Alternate = GPIO_AF12_FMC;
  HAL_GPIO_Init(GPIOD, &GPIO_InitStruct);

  /*Configure GPIO pins : USB_FS1_P_Pin USB_FS1_N_Pin USB_FS1_ID_Pin */
  GPIO_InitStruct.Pin = USB_FS1_P_Pin|USB_FS1_N_Pin|USB_FS1_ID_Pin;
  GPIO_InitStruct.Mode = GPIO_MODE_AF_PP;
  GPIO_InitStruct.Pull = GPIO_NOPULL;
  GPIO_InitStruct.Speed = GPIO_SPEED_FREQ_VERY_HIGH;
  GPIO_InitStruct.Alternate = GPIO_AF10_OTG_FS;
  HAL_GPIO_Init(GPIOA, &GPIO_InitStruct);

  /*Configure GPIO pins : FMC_NBL2_Pin D27_Pin D26_Pin FMC_NBL3_Pin
                           D29_Pin D31_Pin D28_Pin D25_Pin
                           D30_Pin D24_Pin */
  GPIO_InitStruct.Pin = FMC_NBL2_Pin|D27_Pin|D26_Pin|FMC_NBL3_Pin
                          |D29_Pin|D31_Pin|D28_Pin|D25_Pin
                          |D30_Pin|D24_Pin;
  GPIO_InitStruct.Mode = GPIO_MODE_AF_PP;
  GPIO_InitStruct.Pull = GPIO_NOPULL;
  GPIO_InitStruct.Speed = GPIO_SPEED_FREQ_VERY_HIGH;
  GPIO_InitStruct.Alternate = GPIO_AF12_FMC;
  HAL_GPIO_Init(GPIOI, &GPIO_InitStruct);

  /*Configure GPIO pins : LED3_Pin LED2_Pin */
  GPIO_InitStruct.Pin = LED3_Pin|LED2_Pin;
  GPIO_InitStruct.Mode = GPIO_MODE_OUTPUT_OD;
  GPIO_InitStruct.Pull = GPIO_NOPULL;
  GPIO_InitStruct.Speed = GPIO_SPEED_FREQ_LOW;
  HAL_GPIO_Init(GPIOD, &GPIO_InitStruct);

  /*Configure GPIO pins : A0_Pin A1_Pin A2_Pin A3_Pin
                           A4_Pin A5_Pin A6_Pin A9_Pin
                           A7_Pin A8_Pin SDNMT48LC4M32B2B5_6A_RAS_RAS___Pin */
  GPIO_InitStruct.Pin = A0_Pin|A1_Pin|A2_Pin|A3_Pin
                          |A4_Pin|A5_Pin|A6_Pin|A9_Pin
                          |A7_Pin|A8_Pin|SDNMT48LC4M32B2B5_6A_RAS_RAS___Pin;
  GPIO_InitStruct.Mode = GPIO_MODE_AF_PP;
  GPIO_InitStruct.Pull = GPIO_NOPULL;
  GPIO_InitStruct.Speed = GPIO_SPEED_FREQ_VERY_HIGH;
  GPIO_InitStruct.Alternate = GPIO_AF12_FMC;
  HAL_GPIO_Init(GPIOF, &GPIO_InitStruct);

  /*Configure GPIO pin : LED4_Pin */
  GPIO_InitStruct.Pin = LED4_Pin;
  GPIO_InitStruct.Mode = GPIO_MODE_OUTPUT_OD;
  GPIO_InitStruct.Pull = GPIO_NOPULL;
  GPIO_InitStruct.Speed = GPIO_SPEED_FREQ_LOW;
  HAL_GPIO_Init(LED4_GPIO_Port, &GPIO_InitStruct);

  /*Configure GPIO pins : D23_Pin D21_Pin D22_Pin SDNE0_Pin
                           SDCKE0_Pin D20_Pin D17_Pin D19_Pin
                           D16_Pin D18_Pin */
  GPIO_InitStruct.Pin = D23_Pin|D21_Pin|D22_Pin|SDNE0_Pin
                          |SDCKE0_Pin|D20_Pin|D17_Pin|D19_Pin
                          |D16_Pin|D18_Pin;
  GPIO_InitStruct.Mode = GPIO_MODE_AF_PP;
  GPIO_InitStruct.Pull = GPIO_NOPULL;
  GPIO_InitStruct.Speed = GPIO_SPEED_FREQ_VERY_HIGH;
  GPIO_InitStruct.Alternate = GPIO_AF12_FMC;
  HAL_GPIO_Init(GPIOH, &GPIO_InitStruct);

  /*Configure GPIO pin : VBUS_FS1_Pin */
  GPIO_InitStruct.Pin = VBUS_FS1_Pin;
  GPIO_InitStruct.Mode = GPIO_MODE_AF_PP;
  GPIO_InitStruct.Pull = GPIO_NOPULL;
  HAL_GPIO_Init(VBUS_FS1_GPIO_Port, &GPIO_InitStruct);

  /*Configure GPIO pins : I2C2_SCL_Pin I2C2_SDA_Pin */
  GPIO_InitStruct.Pin = I2C2_SCL_Pin|I2C2_SDA_Pin;
  GPIO_InitStruct.Mode = GPIO_MODE_AF_OD;
  GPIO_InitStruct.Pull = GPIO_NOPULL;
  GPIO_InitStruct.Speed = GPIO_SPEED_FREQ_VERY_HIGH;
  GPIO_InitStruct.Alternate = GPIO_AF4_I2C2;
  HAL_GPIO_Init(GPIOH, &GPIO_InitStruct);

  /*Configure GPIO pin : SAI1_MCLKA_Pin */
  GPIO_InitStruct.Pin = SAI1_MCLKA_Pin;
  GPIO_InitStruct.Mode = GPIO_MODE_AF_PP;
  GPIO_InitStruct.Pull = GPIO_NOPULL;
  GPIO_InitStruct.Speed = GPIO_SPEED_FREQ_LOW;
  GPIO_InitStruct.Alternate = GPIO_AF6_SAI1;
  HAL_GPIO_Init(SAI1_MCLKA_GPIO_Port, &GPIO_InitStruct);

  /*Configure GPIO pin : LED1_Pin */
  GPIO_InitStruct.Pin = LED1_Pin;
  GPIO_InitStruct.Mode = GPIO_MODE_OUTPUT_OD;
  GPIO_InitStruct.Pull = GPIO_NOPULL;
  GPIO_InitStruct.Speed = GPIO_SPEED_FREQ_LOW;
  HAL_GPIO_Init(LED1_GPIO_Port, &GPIO_InitStruct);

  /*Configure GPIO pins : QSPI_BK1_IO2_Pin QSPI_BK1_IO3_Pin QSPI_CLK_Pin */
  GPIO_InitStruct.Pin = QSPI_BK1_IO2_Pin|QSPI_BK1_IO3_Pin|QSPI_CLK_Pin;
  GPIO_InitStruct.Mode = GPIO_MODE_AF_PP;
  GPIO_InitStruct.Pull = GPIO_NOPULL;
  GPIO_InitStruct.Speed = GPIO_SPEED_FREQ_VERY_HIGH;
  GPIO_InitStruct.Alternate = GPIO_AF9_QSPI;
  HAL_GPIO_Init(GPIOF, &GPIO_InitStruct);

  /*Configure GPIO pins : QSPI_BK1_IO1_Pin QSPI_BK1_IO0_Pin */
  GPIO_InitStruct.Pin = QSPI_BK1_IO1_Pin|QSPI_BK1_IO0_Pin;
  GPIO_InitStruct.Mode = GPIO_MODE_AF_PP;
  GPIO_InitStruct.Pull = GPIO_NOPULL;
  GPIO_InitStruct.Speed = GPIO_SPEED_FREQ_VERY_HIGH;
  GPIO_InitStruct.Alternate = GPIO_AF10_QSPI;
  HAL_GPIO_Init(GPIOF, &GPIO_InitStruct);

  /*Configure GPIO pin : SDNWE_Pin */
  GPIO_InitStruct.Pin = SDNWE_Pin;
  GPIO_InitStruct.Mode = GPIO_MODE_AF_PP;
  GPIO_InitStruct.Pull = GPIO_NOPULL;
  GPIO_InitStruct.Speed = GPIO_SPEED_FREQ_VERY_HIGH;
  GPIO_InitStruct.Alternate = GPIO_AF12_FMC;
  HAL_GPIO_Init(SDNWE_GPIO_Port, &GPIO_InitStruct);

  /*Configure GPIO pins : OTG_FS1_PowerSwitchOn_Pin EXT_RESET_Pin */
  GPIO_InitStruct.Pin = OTG_FS1_PowerSwitchOn_Pin|EXT_RESET_Pin;
  GPIO_InitStruct.Mode = GPIO_MODE_OUTPUT_PP;
  GPIO_InitStruct.Pull = GPIO_NOPULL;
  GPIO_InitStruct.Speed = GPIO_SPEED_FREQ_LOW;
  HAL_GPIO_Init(GPIOB, &GPIO_InitStruct);

  /*Configure GPIO pin : MIC_CK_Pin */
  GPIO_InitStruct.Pin = MIC_CK_Pin;
  GPIO_InitStruct.Mode = GPIO_MODE_AF_PP;
  GPIO_InitStruct.Pull = GPIO_NOPULL;
  GPIO_InitStruct.Speed = GPIO_SPEED_FREQ_LOW;
  GPIO_InitStruct.Alternate = GPIO_AF2_TIM4;
  HAL_GPIO_Init(MIC_CK_GPIO_Port, &GPIO_InitStruct);

  /*Configure GPIO pin : uSD_Detect_Pin */
  GPIO_InitStruct.Pin = uSD_Detect_Pin;
  GPIO_InitStruct.Mode = GPIO_MODE_INPUT;
  GPIO_InitStruct.Pull = GPIO_PULLUP;
  HAL_GPIO_Init(uSD_Detect_GPIO_Port, &GPIO_InitStruct);

  /*Configure GPIO pin : LCD_INT_Pin */
  GPIO_InitStruct.Pin = LCD_INT_Pin;
  GPIO_InitStruct.Mode = GPIO_MODE_IT_RISING;
  GPIO_InitStruct.Pull = GPIO_NOPULL;
  HAL_GPIO_Init(LCD_INT_GPIO_Port, &GPIO_InitStruct);

  /*Configure GPIO pin : DSI_TE_Pin */
  GPIO_InitStruct.Pin = DSI_TE_Pin;
  GPIO_InitStruct.Mode = GPIO_MODE_AF_PP;
  GPIO_InitStruct.Pull = GPIO_NOPULL;
  GPIO_InitStruct.Speed = GPIO_SPEED_FREQ_LOW;
  GPIO_InitStruct.Alternate = GPIO_AF13_DSI;
  HAL_GPIO_Init(DSI_TE_GPIO_Port, &GPIO_InitStruct);

  /*Configure GPIO pin : LCD_BL_CTRL_Pin */
  GPIO_InitStruct.Pin = LCD_BL_CTRL_Pin;
  GPIO_InitStruct.Mode = GPIO_MODE_OUTPUT_PP;
  GPIO_InitStruct.Pull = GPIO_NOPULL;
  GPIO_InitStruct.Speed = GPIO_SPEED_FREQ_LOW;
  HAL_GPIO_Init(LCD_BL_CTRL_GPIO_Port, &GPIO_InitStruct);

}

/* USER CODE BEGIN 4 */
//void f_opendir_scan(void)
//{
//    TCHAR path[200] = "";
//
//    err = f_mount(&SDFatFS,(TCHAR const*)SDPath,1);
//    printf("SD Mount : err f_mount : %02X\n\r",err);
//
//    if (err == FR_OK)
//    {
//    err = f_opendir(&dir,path);
//        printf("err f_open : %02X\n\r",err);
//
//        if (err == FR_OK)
//        {
//        while(1)
//        {
//            TCHAR *fn;
//
//            err = f_readdir(&dir, &fno);
//
//            if (err != FR_OK)
//                printf("err = %d f_readdir\n\r", err);
//
//            if ((err != FR_OK) || (fno.fname[0] == 0))
//                break;
//
//                        fn = fno.fname;
//            printf("%c%c%c%c ",
//                ((fno.fattrib & AM_DIR) ? 'D' : '-'),
//                ((fno.fattrib & AM_RDO) ? 'R' : '-'),
//                ((fno.fattrib & AM_SYS) ? 'S' : '-'),
//                ((fno.fattrib & AM_HID) ? 'H' : '-') );
//
//            printf("%10d ", fno.fsize);
//
//            printf("%s/%s\n\r", path, fn);
//        }
//        }
//
//        err = f_mount(0,SDPath,0);
//        printf("SD Unmount : err f_mount : %02X\n\r",err);
//    }
//}
/* USER CODE END 4 */

void Error_Handler(void)
{
  __disable_irq();
  while (1)
  {
  }
}
